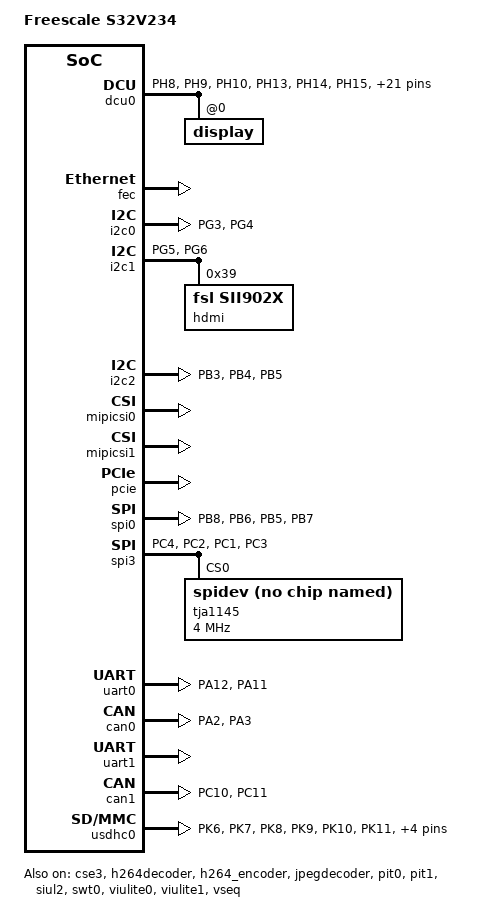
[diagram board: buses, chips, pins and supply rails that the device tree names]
/*
 * Copyright 2015 Freescale Semiconductor, Inc.
 *
 * This program is free software; you can redistribute it and/or modify
 * it under the terms of the GNU General Public License as published by
 * the Free Software Foundation; either version 2 of the License, or
 * (at your option) any later version.
 */

#include "s32v234.dtsi"
/ {
	model = "Freescale S32V234";
	compatible = "fsl,s32v234-evb", "fsl,s32v234",
				 "arm,vexpress,v2p-aarch64", "arm,vexpress";

	chosen {
		bootargs = "console=ttyLF0,115200";
	};

	memory_DDR0@80000000 {
		device_type = "memory";
		reg = <0 0x80000000 0 0x10000000>;
	};

	memory_DDR1@c0000000 {
		device_type = "memory";
		reg = <0 0xc0000000 0 0x10000000>;
	};
};

&cse3 {
	status = "okay";
};

&dcu0 {
	display = <&display>;
	status = "okay";

	pinctrl-names = "default";
	pinctrl-0 = <&pinctrl_dcu>;

	display: display@0 {
		bits-per-pixel = <32>;

		display-timings {
			native-mode = <&timing2>;

			timing0: hdmi-xga {
				clock-frequency = <12690000>;
				hactive = <1024>;
				vactive = <768>;
				vback-porch = <28>;
				vfront-porch = <1>;
				hback-porch = <176>;
				hfront-porch = <16>;
				hsync-len = <96>;
				vsync-len = <3>;
			};

			timing1: hdmi-wxga {
				clock-frequency = <13468000>;
				hactive = <1280>;
				vactive = <720>;
				vback-porch = <20>;
				vfront-porch = <5>;
				hback-porch = <220>;
				hfront-porch = <110>;
				hsync-len = <40>;
				vsync-len = <5>;
			};

			timing2: lvds-fhd {
				clock-frequency = <56000000>;
				hactive = <1920>;
				vactive = <1080>;
				hback-porch = <30>;
				hfront-porch = <60>;
				vback-porch = <30>;
				vfront-porch = <3>;
				hsync-len = <60>;
				vsync-len = <3>;
			};
		};
	};
};

&edma {
	status = "okay";
};

&fdma {
	status = "okay";
};

&fec {
	status = "okay";
};

&h264decoder {
	status = "okay";
};

&h264_encoder {
	status = "okay";
};

&i2c0 {
	pinctrl-names = "default";
	pinctrl-0 = <&pinctrl_i2c0>;
	status = "okay";
};

&i2c1 {
	pinctrl-names = "default";
	pinctrl-0 = <&pinctrl_i2c1>;
	status = "okay";

	hdmi: sii9022a@39 {
		compatible = "fsl,sii902x";
		reg = <0x39>;
	};
};

&i2c2 {
	pinctrl-names = "default";
	pinctrl-0 = <&pinctrl_i2c2>;
	status = "okay";
};

&jpegdecoder {
	status = "okay";
};

&mipicsi0 {
	status = "okay";
};

&mipicsi1 {
	status = "okay";
};

&pit0 {
	status = "okay";
};

&pit1 {
	status = "okay";
};

&pcie {
	status = "okay";
};

&siul2 {
	status = "okay";
	s32v234-evb {
		pinctrl_usdhc0: usdhc0grp {
			fsl,pins = <
				S32V234_PAD_PK6__USDHC_CLK_OUT
				S32V234_PAD_PK6__USDHC_CLK_IN
				S32V234_PAD_PK7__USDHC_CMD_OUT
				S32V234_PAD_PK7__USDHC_CMD_IN
				S32V234_PAD_PK8__USDHC_DAT0_OUT
				S32V234_PAD_PK8__USDHC_DAT0_IN
				S32V234_PAD_PK9__USDHC_DAT1_OUT
				S32V234_PAD_PK9__USDHC_DAT1_IN
				S32V234_PAD_PK10__USDHC_DAT2_OUT
				S32V234_PAD_PK10__USDHC_DAT2_IN
				S32V234_PAD_PK11__USDHC_DAT3_OUT
				S32V234_PAD_PK11__USDHC_DAT3_IN
				S32V234_PAD_PK15__USDHC_DAT4_OUT
				S32V234_PAD_PK15__USDHC_DAT4_IN
				S32V234_PAD_PL0__USDHC_DAT5_OUT
				S32V234_PAD_PL0__USDHC_DAT5_IN
				S32V234_PAD_PL1__USDHC_DAT6_OUT
				S32V234_PAD_PL1__USDHC_DAT6_IN
				S32V234_PAD_PL2__USDHC_DAT7_OUT
				S32V234_PAD_PL2__USDHC_DAT7_IN
			>;
		};
		pinctrl_uart0: uart0grp {
			fsl,pins = <
				S32V234_PAD_PA12__UART0_TXD
				S32V234_PAD_PA11__UART0_RXD_OUT
				S32V234_PAD_PA11__UART0_RXD_IN
			>;
		};
		pinctrl_can0: can0grp {
			fsl,pins = <
				S32V234_PAD_PA2__CAN_FD0_TXD
				S32V234_PAD_PA3__CAN_FD0_RXD_OUT
				S32V234_PAD_PA3__CAN_FD0_RXD_IN
			>;
		};
		pinctrl_can1: can1grp {
			fsl,pins = <
				S32V234_PAD_PC10__CAN_FD1_TXD
				S32V234_PAD_PC11__CAN_FD1_RXD_OUT
				S32V234_PAD_PC11__CAN_FD1_RXD_IN
			>;
		};
		pinctrl_i2c0: i2c0grp {
			fsl,pins = <
				S32V234_PAD_PG3__I2C0_DATA_OUT
				S32V234_PAD_PG3__I2C0_DATA_IN
				S32V234_PAD_PG4__I2C0_SCLK_OUT
				S32V234_PAD_PG4__I2C0_SCLK_IN
			>;
		};
		pinctrl_i2c1: i2c1grp {
			fsl,pins = <
				S32V234_PAD_PG5__I2C1_DATA_OUT
				S32V234_PAD_PG5__I2C1_DATA_IN
				S32V234_PAD_PG6__I2C1_SCLK_OUT
				S32V234_PAD_PG6__I2C1_SCLK_IN
			>;
		};
		pinctrl_i2c2: i2c2grp {
			fsl,pins = <
				S32V234_PAD_PB3__I2C2_DATA_OUT
				S32V234_PAD_PB3__I2C2_DATA_IN
				S32V234_PAD_PB4__I2C2_SCLK_OUT
				S32V234_PAD_PB5__I2C2_SCLK_IN
			>;
		};
		pinctrl_enet: enetgrp {
			fsl,pins = <
				S32V234_PAD_PC13__MDC
				S32V234_PAD_PC14__MDIO_OUT
				S32v234_PAD_PC14__MDIO_IN
				S32V234_PAD_PC15__TXCLK_OUT
				S32V234_PAD_PC15__TXCLK_IN
				S32V234_PAD_PD0__RXCLK_OUT
				S32V234_PAD_PD0__RXCLK_IN
				S32V234_PAD_PD1__RX_D0_OUT
				S32V234_PAD_PD1__RX_D0_IN
				S32V234_PAD_PD2__RX_D1_OUT
				S32V234_PAD_PD2__RX_D1_IN
				S32V234_PAD_PD3__RX_D2_OUT
				S32V234_PAD_PD3__RX_D2_IN
				S32V234_PAD_PD4__RX_D3_OUT
				S32V234_PAD_PD4__RX_D3_IN
				S32V234_PAD_PD4__RX_DV_OUT
				S32V234_PAD_PD4__RX_DV_IN
				S32V234_PAD_PD7__TX_D0_OUT
				S32V234_PAD_PD8__TX_D1_OUT
				S32V234_PAD_PD9__TX_D2_OUT
				S32V234_PAD_PD10__TX_D3_OUT
				S32V234_PAD_PD11__TX_EN_OUT
			>;
		};

		pinctrl_dcu: dcugrp {
			fsl,pins = <
				S32V234_PAD_PH8__DCU_HSYNC_C1
				S32V234_PAD_PH9__DCU_VSYNC_C2
				S32V234_PAD_PH10__DCU_DE_C3
				S32V234_PAD_PH10__DCU_PCLK_D1
				S32V234_PAD_PH13__DCU_R0_D2
				S32V234_PAD_PH14__DCU_R1_D3
				S32V234_PAD_PH15__DCU_R2_D4
				S32V234_PAD_PJ0__DCU_R3_D5
				S32V234_PAD_PJ1__DCU_R4_D6
				S32V234_PAD_PJ2__DCU_R5_D7
				S32V234_PAD_PJ3__DCU_R6_D8
				S32V234_PAD_PJ4__DCU_R7_D9
				S32V234_PAD_PJ5__DCU_G0_D10
				S32V234_PAD_PJ6__DCU_G1_D11
				S32V234_PAD_PJ7__DCU_G2_D12
				S32V234_PAD_PJ8__DCU_G3_D13
				S32V234_PAD_PJ9__DCU_G4_D14
				S32V234_PAD_PJ10__DCU_G5_D15
				S32V234_PAD_PJ11__DCU_G6_D16
				S32V234_PAD_PJ12__DCU_G7_D17
				S32V234_PAD_PJ13__DCU_B0_D18
				S32V234_PAD_PJ14__DCU_B1_D19
				S32V234_PAD_PJ15__DCU_B2_D20
				S32V234_PAD_PK0__DCU_B3_D21
				S32V234_PAD_PK1__DCU_B4_D22
				S32V234_PAD_PK2__DCU_B5_D23
				S32V234_PAD_PK3__DCU_B6_D24
				S32V234_PAD_PK4__DCU_B7_D25
				>;
		};

		pinctrl_dspi0: dspi0grp {
			fsl,pins = <
				S32V234_PAD_PB8__SPI0_CS0_OUT
				S32V234_PAD_PB6__SPI0_SOUT_OUT
				S32V234_PAD_PB5__SPI0_SCK_OUT
				S32V234_PAD_PB7__SPI0_SIN_OUT
				S32V234_PAD_PB7__SPI0_SIN_IN
			>;
		};

		pinctrl_dspi3: dspi3grp {
			fsl,pins = <
				S32V234_PAD_PC4__SPI3_CS0_OUT
				S32V234_PAD_PC2__SPI3_SOUT_OUT
				S32V234_PAD_PC1__SPI3_SCK_OUT
				S32V234_PAD_PC3__SPI3_SIN_OUT
				S32V234_PAD_PC3__SPI3_SIN_IN
			>;
		};

		pinctrl_viulite0: viulite0grp {
			fsl,pins = <
				S32V234_PAD_PD13__VIU0_EN
				S32V234_PAD_PD13__VIU0_PCLK
				S32V234_PAD_PD14__VIU0_EN
				S32V234_PAD_PD14__VIU0_HSYNC
				S32V234_PAD_PD15__VIU0_EN
				S32V234_PAD_PD15__VIU0_VSYNC
				S32V234_PAD_PE0__VIU0_EN
				S32V234_PAD_PE0__VIU0_D8
				S32V234_PAD_PE1__VIU0_EN
				S32V234_PAD_PE1__VIU0_D9
				S32V234_PAD_PE2__VIU0_EN
				S32V234_PAD_PE2__VIU0_D10
				S32V234_PAD_PE3__VIU0_EN
				S32V234_PAD_PE3__VIU0_D11
				S32V234_PAD_PE4__VIU0_EN
				S32V234_PAD_PE4__VIU0_D12
				S32V234_PAD_PE5__VIU0_EN
				S32V234_PAD_PE5__VIU0_D13
				S32V234_PAD_PE6__VIU0_EN
				S32V234_PAD_PE6__VIU0_D14
				S32V234_PAD_PE7__VIU0_EN
				S32V234_PAD_PE7__VIU0_D15
				S32V234_PAD_PE8__VIU0_EN
				S32V234_PAD_PE8__VIU0_D16
				S32V234_PAD_PE9__VIU0_EN
				S32V234_PAD_PE9__VIU0_D17
				S32V234_PAD_PE10__VIU0_EN
				S32V234_PAD_PE10__VIU0_D18
				S32V234_PAD_PE11__VIU0_EN
				S32V234_PAD_PE11__VIU0_D19
				S32V234_PAD_PE12__VIU0_EN
				S32V234_PAD_PE12__VIU0_D20
				S32V234_PAD_PE13__VIU0_EN
				S32V234_PAD_PE13__VIU0_D21
				S32V234_PAD_PE14__VIU0_EN
				S32V234_PAD_PE14__VIU0_D22
				S32V234_PAD_PE15__VIU0_EN
				S32V234_PAD_PE15__VIU0_D23
				>;
		};

		pinctrl_viulite1: viulite1grp {
			fsl,pins = <
				S32V234_PAD_PF0__VIU1_EN
				S32V234_PAD_PF0__VIU1_PCLK
				S32V234_PAD_PF1__VIU1_EN
				S32V234_PAD_PF1__VIU1_HSYNC
				S32V234_PAD_PF2__VIU1_EN
				S32V234_PAD_PF2__VIU1_VSYNC
				S32V234_PAD_PF3__VIU_EN
				S32V234_PAD_PF3__VIU1_D8
				S32V234_PAD_PF4__VIU_EN
				S32V234_PAD_PF4__VIU1_D9
				S32V234_PAD_PF5__VIU_EN
				S32V234_PAD_PF5__VIU1_D10
				S32V234_PAD_PF6__VIU_EN
				S32V234_PAD_PF6__VIU1_D11
				S32V234_PAD_PF7__VIU1_EN
				S32V234_PAD_PF7__VIU1_D12
				S32V234_PAD_PF8__VIU1_EN
				S32V234_PAD_PF8__VIU1_D13
				S32V234_PAD_PF9__VIU1_EN
				S32V234_PAD_PF9__VIU1_D14
				S32V234_PAD_PF10__VIU1_EN
				S32V234_PAD_PF10__VIU1_D15
				S32V234_PAD_PF11__VIU1_EN
				S32V234_PAD_PF11__VIU1_D16
				S32V234_PAD_PF12__VIU1_EN
				S32V234_PAD_PF12__VIU1_D17
				S32V234_PAD_PF13__VIU1_EN
				S32V234_PAD_PF13__VIU1_D18
				S32V234_PAD_PF14__VIU1_EN
				S32V234_PAD_PF14__VIU1_D19
				S32V234_PAD_PF15__VIU1_EN
				S32V234_PAD_PF15__VIU1_D20
				S32V234_PAD_PG0__VIU1_EN
				S32V234_PAD_PG0__VIU1_D21
				S32V234_PAD_PG1__VIU1_EN
				S32V234_PAD_PG1__VIU1_D22
				S32V234_PAD_PG2__VIU1_EN
				S32V234_PAD_PG2__VIU1_D23
				>;
		};
	};
};

&spi0 {
	pinctrl-names = "default";
	pinctrl-0 = <&pinctrl_dspi0>;
	status = "okay";
};

&spi3 {
	#address-cells = <1>;
	#size-cells = <0>;

	pinctrl-names = "default";
	pinctrl-0 = <&pinctrl_dspi3>;
	status = "okay";

	/* This is an example entry to illustrate SPI device setup.
	 * To be hooked up to the expansion port SPI3 CS0 for testing.
	 */
	tja1145: tja1145@0 {
		compatible = "spidev";
		spi-max-frequency = <4000000>;
		reg = <0>;
	};
};

&swt0 {
	status = "okay";
};

&uart0 {
	pinctrl-names = "default";
	pinctrl-0 = <&pinctrl_uart0>;
	status = "okay";
};

&can0 {
	pinctrl-names = "default";
	pinctrl-0 = <&pinctrl_can0>;
	status = "okay";
};

&uart1 {
	status = "okay";
};

&can1 {
	pinctrl-names = "default";
	pinctrl-0 = <&pinctrl_can1>;
	status = "okay";
};

&usdhc0 {
	no-1-8-V;
	pinctrl-names = "default";
	pinctrl-0 = <&pinctrl_usdhc0>;
	status = "okay";
};

&viulite0{
	pinctrl-names = "default";
	pinctrl-0 = <&pinctrl_viulite0>;
	status = "okay";
};

&viulite1{
	pinctrl-names = "default";
	pinctrl-0 = <&pinctrl_viulite1>;
	status = "okay";
};

&vseq {
	status = "okay";
};
